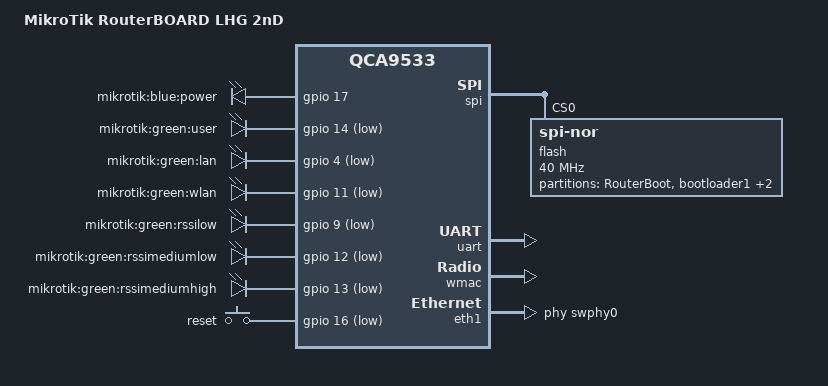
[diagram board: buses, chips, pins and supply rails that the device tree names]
// SPDX-License-Identifier: GPL-2.0-or-later OR MIT
/dts-v1/;

#include <dt-bindings/gpio/gpio.h>
#include <dt-bindings/input/input.h>

#include "qca953x.dtsi"

/ {
	compatible = "mikrotik,routerboard-lhg-2nd", "qca,qca9533";
	model = "MikroTik RouterBOARD LHG 2nD";

	aliases {
		led-boot = &led_user;
		led-failsafe = &led_user;
		led-upgrade = &led_user;
		led-running = &led_user;
		serial0 = &uart;
	};

	leds {
		compatible = "gpio-leds";
		pinctrl-names = "default";
		pinctrl-0 = <&led_wan_pin>;

		power {
			label = "mikrotik:blue:power";
			gpios = <&gpio 17 GPIO_ACTIVE_HIGH>;
			default-state = "on";
		};

		led_user: user {
			label = "mikrotik:green:user";
			gpios = <&gpio 14 GPIO_ACTIVE_LOW>;
		};

		lan {
			label = "mikrotik:green:lan";
			gpios = <&gpio 4 GPIO_ACTIVE_LOW>;
		};

		wlan {
			label = "mikrotik:green:wlan";
			gpios = <&gpio 11 GPIO_ACTIVE_LOW>;
			linux,default-trigger = "phy0tpt";
		};

		rssilow {
			label = "mikrotik:green:rssilow";
			gpios = <&gpio 9 GPIO_ACTIVE_LOW>;
		};

		rssimediumlow {
			label = "mikrotik:green:rssimediumlow";
			gpios = <&gpio 12 GPIO_ACTIVE_LOW>;
		};

		rssimediumhigh {
			label = "mikrotik:green:rssimediumhigh";
			gpios = <&gpio 13 GPIO_ACTIVE_LOW>;
		};

		/* The rssihigh LED GPIO 16 is shared with the reset button, so it remains
		unregistered here to avoid conflict.

		rssihigh {
			label = "mikrotik:green:rssihigh";
			gpios = <&gpio 16 GPIO_ACTIVE_LOW>;
		};
		*/
	};

	keys {
		compatible = "gpio-keys";

		reset {
			label = "reset";
			linux,code = <KEY_RESTART>;
			gpios = <&gpio 16 GPIO_ACTIVE_LOW>;
			debounce-interval = <60>;
		};
	};
};

&spi {
	status = "okay";

	num-cs = <1>;

	flash@0 {
		compatible = "jedec,spi-nor";
		reg = <0>;
		spi-max-frequency = <40000000>;

		partitions {
			compatible = "fixed-partitions";
			#address-cells = <1>;
			#size-cells = <1>;

			partition@0 {
				label = "RouterBoot";
				reg = <0x0 0x20000>;
				read-only;
				compatible = "mikrotik,routerboot-partitions";
				#address-cells = <1>;
				#size-cells = <1>;

				partition@0 {
					label = "bootloader1";
					reg = <0x0 0x0>;
					read-only;
				};

				hard_config: hard_config {
					read-only;
				};

				bios {
					size = <0x1000>;
					read-only;
				};

				partition@10000 {
					label = "bootloader2";
					reg = <0x10000 0x0>;
					read-only;
				};

				soft_config {
					label = "soft_config";
				};
			};

			partition@20000 {
				compatible = "mikrotik,minor";
				label = "firmware";
				reg = <0x020000 0xfe0000>;
			};
		};
	};
};

&uart {
	status = "okay";
};

&wmac {
	status = "okay";

	qca,no-eeprom;
};

&eth0 {
	compatible = "syscon", "simple-mfd";
};

&eth1 {
	status = "okay";

	phy-handle = <&swphy0>;

	gmac-config {
		device = <&gmac>;
	};
};

&pinmux {
	led_wan_pin: pinmux_led_wan_pin {
		pinctrl-single,bits = <0x4 0x0 0xff>;
	};
};
